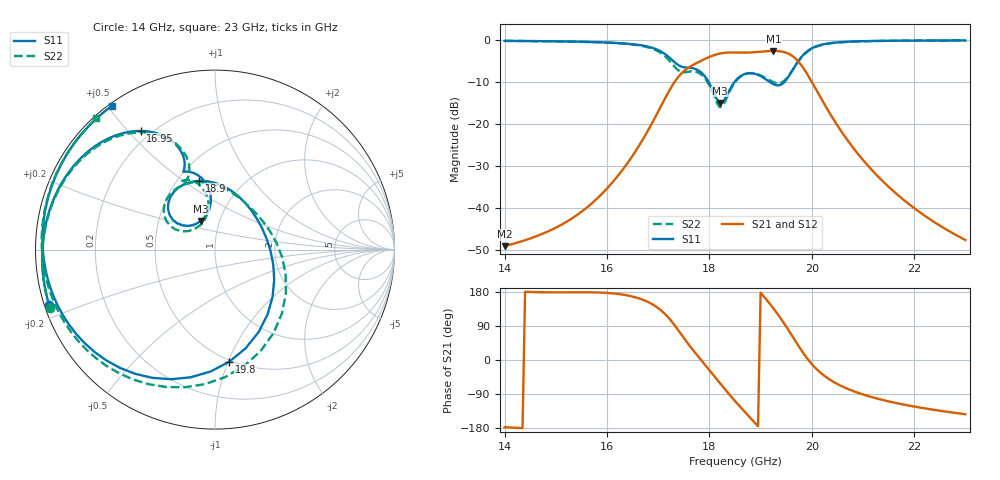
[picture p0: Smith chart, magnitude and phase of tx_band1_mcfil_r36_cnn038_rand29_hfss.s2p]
! Touchstone file exported from HFSS 3D Layout Design 2026.1.0
!  File:  D:/Work/SIM/ADS_AUTO_SIM/projects/RFSOC_RF/TX_Fillter.aedt
!  Generated:  03:11:37 AM Aug 31, 2026
!  Design:  TX_BAND1_MCFIL_R36_CNN038
!  Project:  TX_Fillter
# GHz S MA R 50.000000
! Terminal data exported
! Port[1] = Port1
! Port[2] = Port2
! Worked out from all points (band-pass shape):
!   181 points, 14 GHz to 23 GHz, reference 50 ohm
!   highest |S21| = -2.62 dB at 19.25 GHz (marker M1); lowest = -49.1 dB at 14 GHz (marker M2)
!   |S21| within 3 dB of the highest: 17.73 GHz to 19.77 GHz (2.039 GHz wide, 10.9 % of centre)
!   lowest |S11| = -15.0 dB at 18.2 GHz (marker M3), VSWR 1.43, Z = 40.8 + j13.5 ohm
!   |S11| at or under -10 dB: 17.98 GHz to 18.49 GHz (508.7 MHz wide, 2.79 % of centre); 19.18 GHz to 19.46 GHz (284.7 MHz wide, 1.47 % of centre)
!   |S22| runs from -16.0 to -0.1 dB; largest |S21 - S12| = 2.3e-14
!   S11 on the Smith chart (normalised r, x): 14 GHz: 0.01, -0.16; 16.95 GHz: 0.16, +0.54; 18.9 GHz: 0.63, +0.58; 19.8 GHz: 0.49, -1.01; 23 GHz: 0.01, +0.51
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14  0.9745 -161.4  0.003525 -177.3  0.003525 -177.3  0.9744 -160.6
15.5  0.951 169.2  0.00903 178.7  0.00903 178.7  0.9497 170.0
16.35  0.9065 146.3  0.03108 171.6  0.03108 171.6  0.901 146.5
16.95  0.7798 122.0  0.1231 141.7  0.1231 141.7  0.7569 120.4
17  0.7569 119.5  0.1407 136.9  0.1407 136.9  0.7304 117.7
17.25  0.5934 109.3  0.2704 103.9  0.2704 103.9  0.5391 107.0
17.55  0.4688 112.1  0.4489 49.1  0.4489 49.1  0.4141 116.6
17.9  0.3764 97.9  0.5892 -10.1  0.5892 -10.1  0.3572 102.0
18.2  0.1778 115.8  0.6876 -59.9  0.6876 -59.9  0.159 120.7
18.35  0.2256 143.4  0.7066 -84.7  0.7066 -84.7  0.2132 151.4
18.5  0.3209 142.4  0.7083 -108.3  0.7083 -108.3  0.3141 149.6
18.9  0.3936 103.0  0.7151 -167.2  0.7151 -167.2  0.3967 110.2
19.1  0.341 74.9  0.7323 161.7  0.7323 161.7  0.3512 84.6
19.25  0.2979 47.4  0.7396 136.2  0.7396 136.2  0.3139 61.0
19.5  0.3347 -14.2  0.704 88.4  0.704 88.4  0.3444 6.5
19.65  0.465 -50.9  0.6246 56.5  0.6246 56.5  0.4626 -31.3
19.8  0.6298 -82.7  0.4962 24.9  0.4962 24.9  0.6203 -65.9
20  0.7955 -116.1  0.3169 -10.8  0.3169 -10.8  0.7851 -102.4
20.25  0.8938 -144.3  0.1703 -42.2  0.1703 -42.2  0.8862 -133.0
20.55  0.94 -166.1  0.08633 -66.9  0.08633 -66.9  0.9351 -156.5
21.5  0.977 157.0  0.01794 -109.2  0.01794 -109.2  0.9754 164.5
23  0.9853 125.8  0.004175 -143.1  0.004175 -143.1  0.9849 132.1
